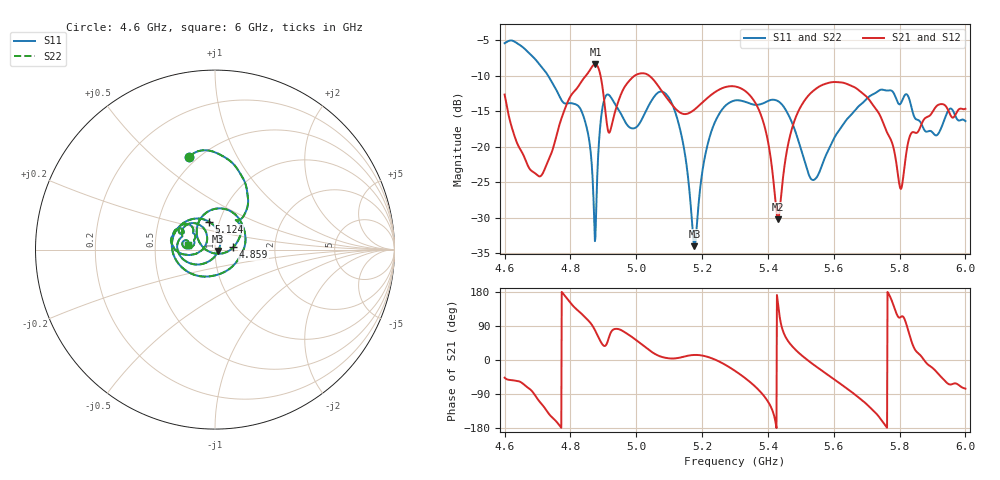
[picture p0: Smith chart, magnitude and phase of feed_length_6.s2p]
! TOUCHSTONE file generated by CST MICROWAVE STUDIO
! Date and time: Mon Dec  2 05:46:49 2024
! Project name: test_tuning.cst
! Parameters = {airCoaxOuterDiameter=3; chamferAngle=45; chamferWidth=24; connectorLength=10; drillingHoleDiameter=4.1; feedLength=80; flareDiameter=130; flareLength=70; gratingDistance=0; gratingGap=1.90274; outletLength=30; polarizerLength=134; probe1Diameter=1.3; probe1Distance=14; probe1Length=1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
! Header version: 2024
! Port assignment regex: !\s*Touchstone port\s*([0-9]+)\s*=\s*(CST MWS port|CST DES external port|CST DES block port)\s*(.+)\s* \(\"(.*)\"\)(\s*mode\s*([0-9]+))?.*
! Touchstone port assignment:
! Touchstone port 1 = CST MWS port 1 ("Input1")
! Touchstone port 2 = CST MWS port 2 ("Input2")
# GHz S MA R 50
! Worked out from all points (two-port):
!   1001 points, 4.6 GHz to 6 GHz, reference 50 ohm
!   highest |S21| = -8.40 dB at 4.876 GHz (marker M1); lowest = -30.2 dB at 5.43 GHz (marker M2)
!   |S21| within 3 dB of the highest: 4.968 GHz to 5.066 GHz (98.19 MHz wide, 1.96 % of centre); 5.562 GHz to 5.651 GHz (89.71 MHz wide, 1.6 % of centre)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
!   lowest |S11| = -34.0 dB at 5.177 GHz (marker M3), VSWR 1.04, Z = 51.9 - j0.8 ohm
!   |S11| at or under -10 dB: 4.732 GHz to end of sweep
!   |S22| runs from -34.0 to -5.1 dB; largest |S21 - S12| = 1.1e-06
!   S11 on the Smith chart (normalised r, x): 4.6 GHz: 0.45, +0.65; 4.859 GHz: 1.23, +0.03; 5.124 GHz: 0.89, +0.29; 6 GHz: 0.74, +0.04
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4.6  0.5333 105.8  0.2324 -46.8  0.2324 -46.8  0.5333 105.8
4.7064  0.3774 61.9  0.06186 -110.0  0.06186 -110.0  0.3774 61.9
4.8338  0.1775 35.0  0.2874 122.0  0.2874 122.0  0.1775 35.0
4.859  0.1029 7.2  0.3448 99.7  0.3448 99.7  0.1029 7.2
4.8758  0.02287 -124.5  0.3801 76.7  0.3801 76.7  0.02288 -124.5
4.8912  0.1449 134.8  0.3168 49.6  0.3168 49.6  0.1449 134.8
4.908  0.2286 88.0  0.163 39.2  0.163 39.2  0.2286 88.0
4.9906  0.1344 -55.3  0.3095 58.5  0.3095 58.5  0.1344 -55.3
5.0676  0.2409 175.9  0.2654 11.3  0.2654 11.3  0.2409 175.9
5.1236  0.1602 102.5  0.1805 4.8  0.1805 4.8  0.1602 102.5
5.1768  0.02001 -22.7  0.1822 13.3  0.1822 13.3  0.02001 -22.7
5.2244  0.1202 -136.5  0.228 6.1  0.228 6.1  0.1202 -136.5
5.3  0.2112 176.6  0.265 -28.6  0.265 -28.6  0.2112 176.6
5.3812  0.2 156.4  0.1613 -87.8  0.1613 -87.8  0.2 156.4
5.4302  0.2092 138.4  0.03098 151.6  0.03098 151.6  0.2092 138.4
5.4722  0.1494 119.8  0.1319 37.9  0.1319 37.9  0.1494 119.8
5.5338  0.05861 148.4  0.2423 -9.2  0.2423 -9.2  0.05861 148.4
5.6514  0.1662 -170.3  0.2691 -82.6  0.2691 -82.6  0.1662 -170.3
5.7676  0.2487 158.5  0.1189 173.4  0.1189 173.4  0.2487 158.5
5.804  0.2022 154.6  0.05048 113.7  0.05048 113.7  0.2022 154.6
5.8362  0.1891 135.0  0.1249 49.2  0.1249 49.2  0.1891 135.0
6  0.1514 169.5  0.1846 -75.6  0.1846 -75.6  0.1514 169.5
